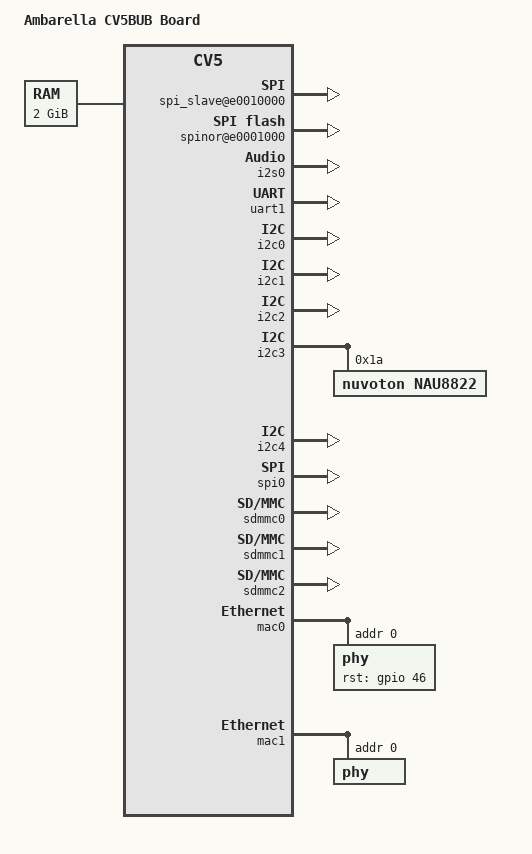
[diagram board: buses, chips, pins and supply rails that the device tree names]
/*
 * board level device tree source
 */

/dts-v1/;

/include/ "cv5.515.dtsi"

/ {
	model = "Ambarella CV5BUB Board";
	compatible = "ambarella,cv5bub", "ambarella,cv5";

	chosen {
		bootargs = "ubi.mtd=5 root=ubi0:linux rootfstype=ubifs console=ttyS0 nosmp maxcpus=0";
	};

	memory {
		device_type = "memory";
		reg = <0x0 0x200000 0x0 0x7fe00000>;
	};

	/*specify cpu_release_addr+0x8 at amba_bld.map*/
	/*cpus {
		cpu@0 {
			cpu-release-addr = <0x0 0x170>;
			enable-method = "spin-table";
		};

		cpu@1 {
			cpu-release-addr = <0x0 0x178>;
			enable-method = "spin-table";
			cpu-release-addr = <0x0 0x100002e8>;
		};
	};*/

	ddr-controller@1000004000 {
		burst-size = <0x40>;
	};

	apb@20e4000000 {

	};

	ahb@20e0000000 {
		spi_slave@e0010000 {
			/delete-property/pinctrl-0;
			status = "ok";
		};
		nand@e0002000 {
			amb,timing = <0x303320c 0x5050505 0x71464 0x0 0x0 0x0>;
		};
		spinor@e0001000 {
			status = "ok";
		};
	};

	sound {
		compatible = "simple-audio-card";
		simple-audio-card,name = "nau8822 @ AMBEVK";
		simple-audio-card,mclk-fs = <256>;
		simple-audio-card,widgets =
		"Speaker", "Speaker",
		"Microphone", "Mic Internal";
		simple-audio-card,routing =
		"LMICN", "Mic Internal",
		"LMICP", "Mic Internal",
		"RMICP", "Mic Internal",
		"RMICP", "Mic Internal",
		"Speaker", "LSPK",
		"Speaker", "RSPK";

		simple-audio-card,dai-link@0 {
			format = "i2s";

			cpu {
				sound-dai = <&i2s0>;
			};

			codec {
				sound-dai = <&nau8822>;
			};
		};
	};

	/* /delete-node/ psci; */
};

&i2s0 {
	status = "ok";
};

&uart1 {
	status = "ok";
};

&i2c0 {
    pinctrl-0 = <&i2c0_pins>;
	status = "ok";
};

&i2c1 {
	pinctrl-0 = <&i2c1_pins_c>;
	status = "ok";
};

&i2c2 {
	pinctrl-0 = <&i2c2_pins_b>;
	status = "ok";
};

&i2c3 {
	pinctrl-0 = <&i2c3_pins_a>;
	status = "ok";
	nau8822: codec@1a {
		compatible = "nuvoton,nau8822";
		#sound-dai-cells = <0>;
		reg = <0x1a>;
	};
};

&i2c4 {
    pinctrl-0 = <&i2c4_pins_b>;
	status = "ok";
};

&i2cs {
	status = "disable";

	/* echo "slave-24c02 0x1062 > /sys/bus/i2c/devices/i2c-5/new_device */
	/*slave-24c02@62{
		compatible = "slave-24c02";
		reg = <0x40000062>;
	};*/
};

&spi0 {
	/delete-property/pinctrl-0;
	status = "ok";
	cs-gpios = <&gpio 4 0>;
};

&spi3 {
	status = "disable";
	cs-gpios = <&gpio 104 0>;
	spidev@0 {
			compatible = "ambarella,spidev";
			spi-max-frequency = <1000000>;
			reg = <0>;
			spi-cpha;
			spi-cpol;
	};
};

&spi4 {
	pinctrl-0 = <&spi4_pins_b>;
};

&spi5 {
	pinctrl-0 = <&spi5_pins_b>;
};

&sdmmc0 {
	pwr-gpios = <&gpio 91 0x0>;
	v18-gpios = <&gpio 39 0x0>;
	post-power-on-delay-ms = <10>;
	status = "ok";
};

&sdmmc1 {
	pwr-gpios = <&gpio 100 0x0>;
	v18-gpios = <&gpio 40 0x0>;
	post-power-on-delay-ms = <10>;
	status = "ok";
};

&sdmmc2 {
	/*suppress "mmc2: error -22 whilst initialising SDIO card" when daughter board not connected*/
	no-sdio;
	pwr-gpios = <&gpio 109 0x1>;
	v18-gpios = <&gpio 132 0x1>;
	status = "ok";
};

&mac0 {
	amb,tx-clk-invert;

	phy@0 {
		reg = <0>;
		rst-gpios = <&gpio 46 0>;
		rst-gpio-delay = <150>;

	};
};

&mac1 {
	amb,tx-clk-invert;

	phy@0 {
		reg = <0>;
	};
};

&usb_cdnsp {
	pinctrl-names = "default";
	pinctrl-0 = <&usb_host0_pins_f>;
};

&hdmi {
	amb,i2c-adapter = <2>;
};

&pciec {
	compatible = "ambarella,cdns-pcie-host";
	/*compatible = "ambarella,cdns-pcie-ep";*/
};

